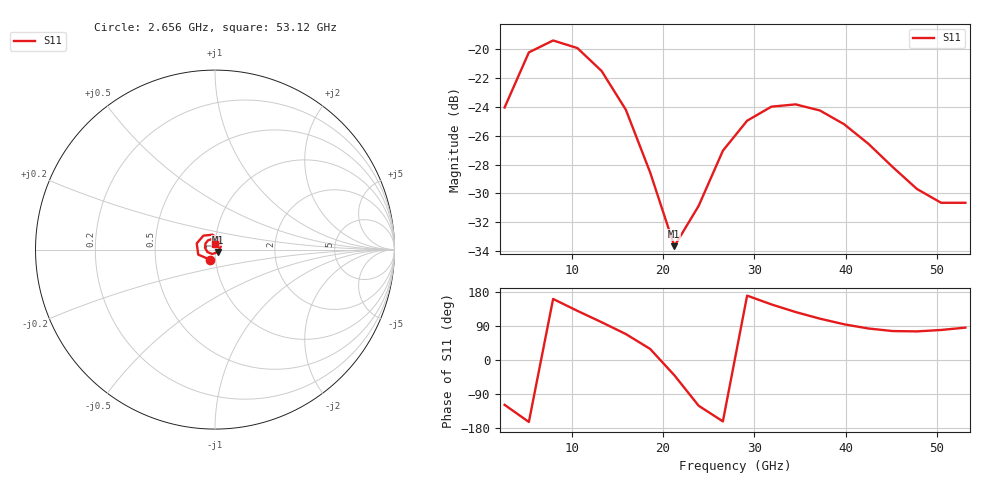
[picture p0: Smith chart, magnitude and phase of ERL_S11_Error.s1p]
! File created by SignalIntegrity v1.4.2: Signal and Power Integrity Tools
! https://github.com/Nubis-Communications/SignalIntegrity
# MHz S MA R 50.0
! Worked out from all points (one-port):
!   20 points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, 2.656 GHz to 53.12 GHz, reference 50 ohm
!   lowest |S11| = -33.7 dB at 21.25 GHz (marker M1), VSWR 1.04, Z = 51.6 - j1.38 ohm
!   |S11| at or under -10 dB: start of sweep to end of sweep
2656.25  0.06282 -118.3
5312.5  0.09764 -163.5
7968.75  0.1074 161.1
10625  0.1011 129.7
13281.25  0.08412 99.7
15937.5  0.06168 68.4
18593.75  0.0374 29.2
21250  0.02071 -40.3
23906.25  0.02858 -120.6
26562.5  0.04445 -162.0
29218.75  0.05652 169.9
31875  0.06324 146.7
34531.25  0.06441 126.6
37187.5  0.06134 109.1
39843.75  0.05494 94.2
42500  0.04699 83.1
45156.25  0.03903 76.4
47812.5  0.03274 75.5
50468.75  0.02931 79.2
53125  0.02931 85.5
